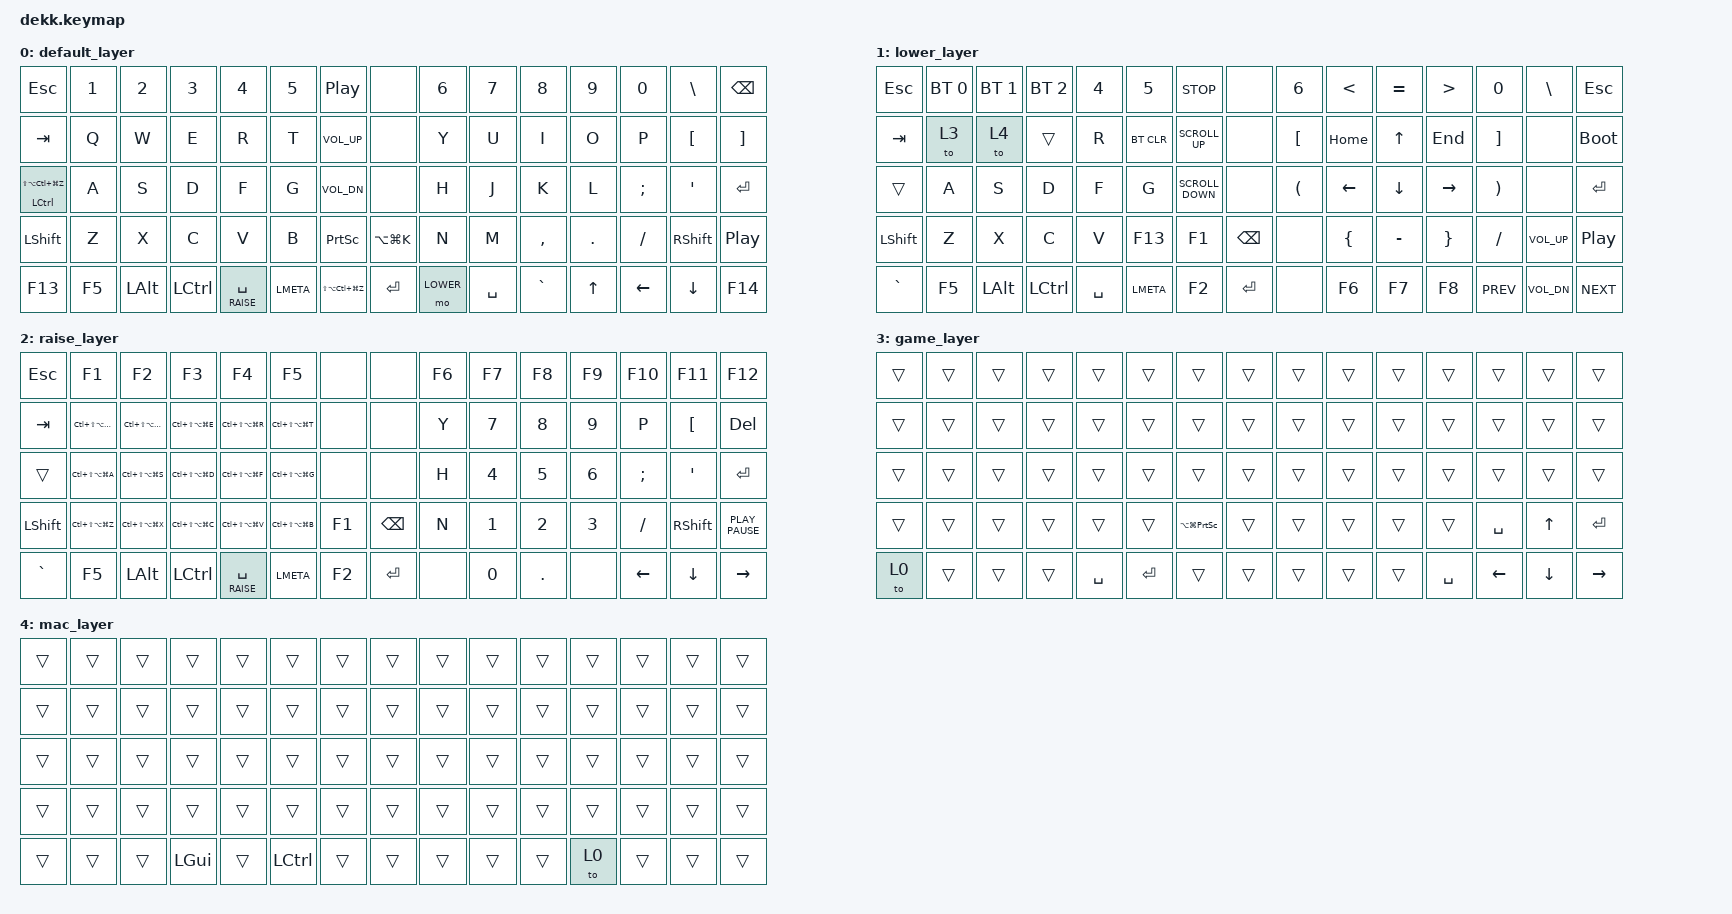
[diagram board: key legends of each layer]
#include <behaviors.dtsi>
#include <dt-bindings/zmk/bt.h>
#include <dt-bindings/zmk/keys.h>

#define DEFAULT 0
#define LOWER   1
#define RAISE   2

/ {
    combos {
        compatible = "zmk,combos";

        chrome_to_klogg_combo {
            bindings = <&chrome_to_klogg>;
            key-positions = <8 9>;
        };
    };

    macros {
        chrome_to_klogg: chrome_to_klogg {
            compatible = "zmk,behavior-macro";
            #binding-cells = <0>;
            bindings =
                <&kp LC(A) &kp LC(C) &kp LS(LA(LC(LG(E))))>,
                <&macro_wait_time 100>,
                <&kp TAB &kp LC(V)>;

            label = "CHROME_TO_KLOGG";
        };
    };

    keymap {
        compatible = "zmk,keymap";

        default_layer {
            bindings = <
&kp ESC                      &kp N1  &kp N2    &kp N3     &kp N4           &kp N5     &kp C_PLAY_PAUSE       &none          &kp N6     &kp N7     &kp N8     &kp N9   &kp N0    &kp BSLH    &kp BSPC
&kp TAB                      &kp Q   &kp W     &kp E      &kp R            &kp T      &kp C_VOL_UP           &none          &kp Y      &kp U      &kp I      &kp O    &kp P     &kp LBKT    &kp RBKT
&mt LCTRL LS(LA(LC(LG(Z))))  &kp A   &kp S     &kp D      &kp F            &kp G      &kp C_VOL_DN           &none          &kp H      &kp J      &kp K      &kp L    &kp SEMI  &kp APOS    &kp ENTER
&kp LSHFT                    &kp Z   &kp X     &kp C      &kp V            &kp B      &kp PRINTSCREEN        &kp LA(LG(K))  &kp N      &kp M      &kp COMMA  &kp DOT  &kp FSLH  &kp RSHIFT  &kp C_PLAY_PAUSE
&kp F13                      &kp F5  &kp LALT  &kp LCTRL  &lt RAISE SPACE  &kp LMETA  &kp LS(LA(LC(LG(Z))))  &kp ENTER      &mo LOWER  &kp SPACE  &kp GRAVE  &kp UP   &kp LEFT  &kp DOWN    &kp F14
            >;
        };

        lower_layer {
            bindings = <
&kp ESC    &bt BT_SEL 0  &bt BT_SEL 1  &bt BT_SEL 2  &kp N4     &kp N5      &kp C_STOP         &none      &kp N6    &kp LT          &kp EQUAL  &kp GT           &kp N0             &kp BSLH      &kp ESCAPE
&kp TAB    &to 3         &to 4         &trans        &kp R      &bt BT_CLR  &kp K_SCROLL_UP    &none      &kp LBKT  &kp HOME        &kp UP     &kp END          &kp RIGHT_BRACKET  &none         &bootloader
&trans     &kp A         &kp S         &kp D         &kp F      &kp G       &kp K_SCROLL_DOWN  &none      &kp LPAR  &kp LEFT        &kp DOWN   &kp RIGHT        &kp RPAR           &none         &kp ENTER
&kp LSHFT  &kp Z         &kp X         &kp C         &kp V      &kp F13     &kp F1             &kp BSPC   &none     &kp LEFT_BRACE  &kp MINUS  &kp RIGHT_BRACE  &kp FSLH           &kp C_VOL_UP  &kp C_PLAY_PAUSE
&kp GRAVE  &kp F5        &kp LALT      &kp LCTRL     &kp SPACE  &kp LMETA   &kp F2             &kp ENTER  &none     &kp F6          &kp F7     &kp F8           &kp C_PREV         &kp C_VOL_DN  &kp C_NEXT
            >;
        };

        raise_layer {
            bindings = <
&kp ESC    &kp F1                 &kp F2                 &kp F3                 &kp F4                 &kp F5                 &none   &none      &kp F6  &kp F7  &kp F8   &kp F9  &kp F10   &kp F11     &kp F12
&kp TAB    &kp LC(LS(LA(LG(Q))))  &kp LC(LS(LA(LG(W))))  &kp LC(LS(LA(LG(E))))  &kp LC(LS(LA(LG(R))))  &kp LC(LS(LA(LG(T))))  &none   &none      &kp Y   &kp N7  &kp N8   &kp N9  &kp P     &kp LBKT    &kp DEL
&trans     &kp LC(LS(LA(LG(A))))  &kp LC(LS(LA(LG(S))))  &kp LC(LS(LA(LG(D))))  &kp LC(LS(LA(LG(F))))  &kp LC(LS(LA(LG(G))))  &none   &none      &kp H   &kp N4  &kp N5   &kp N6  &kp SEMI  &kp APOS    &kp ENTER
&kp LSHFT  &kp LC(LS(LA(LG(Z))))  &kp LC(LS(LA(LG(X))))  &kp LC(LS(LA(LG(C))))  &kp LC(LS(LA(LG(V))))  &kp LC(LS(LA(LG(B))))  &kp F1  &kp BSPC   &kp N   &kp N1  &kp N2   &kp N3  &kp FSLH  &kp RSHIFT  &kp K_PLAY_PAUSE
&kp GRAVE  &kp F5                 &kp LALT               &kp LCTRL              &lt RAISE SPACE        &kp LMETA              &kp F2  &kp ENTER  &none   &kp N0  &kp DOT  &none   &kp LEFT  &kp DOWN    &kp RIGHT
            >;
        };

        game_layer {
            bindings = <
&trans  &trans  &trans  &trans  &trans     &trans     &trans                   &trans  &trans  &trans  &trans  &trans     &trans     &trans    &trans
&trans  &trans  &trans  &trans  &trans     &trans     &trans                   &trans  &trans  &trans  &trans  &trans     &trans     &trans    &trans
&trans  &trans  &trans  &trans  &trans     &trans     &trans                   &trans  &trans  &trans  &trans  &trans     &trans     &trans    &trans
&trans  &trans  &trans  &trans  &trans     &trans     &kp LA(LG(PRINTSCREEN))  &trans  &trans  &trans  &trans  &trans     &kp SPACE  &kp UP    &kp ENTER
&to 0   &trans  &trans  &trans  &kp SPACE  &kp ENTER  &trans                   &trans  &trans  &trans  &trans  &kp SPACE  &kp LEFT   &kp DOWN  &kp RIGHT
            >;
        };

        mac_layer {
            bindings = <
&trans  &trans  &trans  &trans    &trans  &trans     &trans  &trans  &trans  &trans  &trans  &trans  &trans  &trans  &trans
&trans  &trans  &trans  &trans    &trans  &trans     &trans  &trans  &trans  &trans  &trans  &trans  &trans  &trans  &trans
&trans  &trans  &trans  &trans    &trans  &trans     &trans  &trans  &trans  &trans  &trans  &trans  &trans  &trans  &trans
&trans  &trans  &trans  &trans    &trans  &trans     &trans  &trans  &trans  &trans  &trans  &trans  &trans  &trans  &trans
&trans  &trans  &trans  &kp LGUI  &trans  &kp LCTRL  &trans  &trans  &trans  &trans  &trans  &to 0   &trans  &trans  &trans
            >;
        };
    };
};
